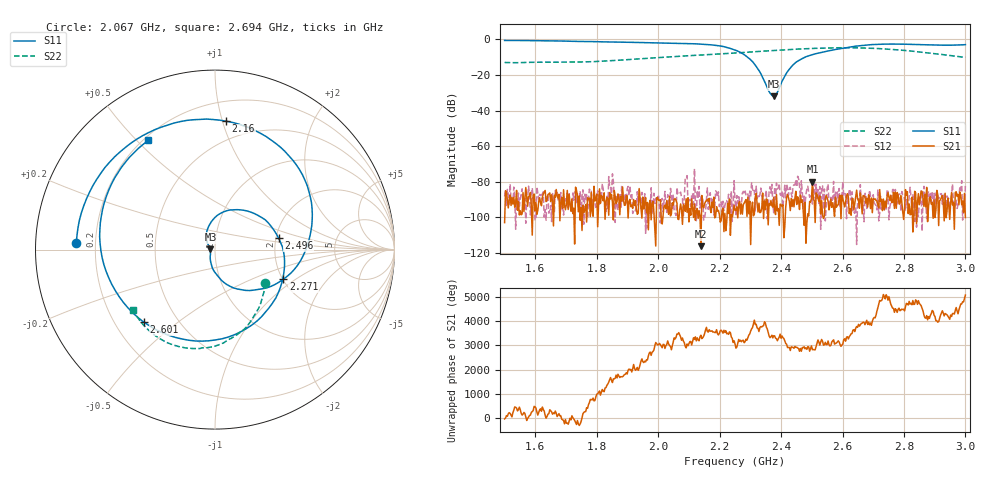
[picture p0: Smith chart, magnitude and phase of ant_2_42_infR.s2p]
! 1/1/2000 12:27:57 AM
! C:\DOCUMENTS AND SETTINGS\VECTORSTARUSER\DESKTOP\231101\ANT_2_42_INFR.S2P
! CHANNEL.1
! TR.MEASUREMENT
! CORRECTED.DATA
# HZ S DB R 50.0
! FREQ.HZ  S11DB  S11A  S21DB  S21A  S12DB  S12A  S22DB  S22A
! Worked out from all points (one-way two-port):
!   501 points, 1.5 GHz to 3 GHz, reference 50 ohm
!   highest |S21| = -79.97 dB at 2.502 GHz (marker M1); lowest = -116.2 dB at 2.139 GHz (marker M2)
!   lowest |S11| = -32.0 dB at 2.376 GHz (marker M3), VSWR 1.05, Z = 47.5 + j0.232 ohm
!   |S11| at or under -10 dB: 2.291 GHz to 2.478 GHz (186.9 MHz wide, 7.84 % of centre)
!   |S22| runs from -13.1 to -4.7 dB; largest |S21 - S12| = 0.00022
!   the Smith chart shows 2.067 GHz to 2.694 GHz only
!   S11 on the Smith chart (normalised r, x): 2.067 GHz: 0.13, +0.02; 2.16 GHz: 0.35, +1.03; 2.271 GHz: 2.02, -0.80; 2.496 GHz: 2.06, +0.31; 2.601 GHz: 0.32, -0.38; 2.694 GHz: 0.22, +0.54
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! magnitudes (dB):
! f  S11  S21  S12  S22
! 1.5 GHz  -0.6  -102.9  -88.2  -13.0
! 1.752 GHz  -1.2  -107.4  -87.8  -12.7
! 1.83 GHz  -1.4  -91.2  -96.7  -12.1
! 1.845 GHz  -1.4  -89.7  -82.6  -12.0
! 1.863 GHz  -1.5  -92.3  -87.4  -11.8
! 2.001 GHz  -1.9  -90.4  -87.2  -10.2
! 2.067 GHz  -2.2  -101.2  -87.2  -9.5
! 2.118 GHz  -2.5  -92.4  -72.7  -9.0
! 2.139 GHz  -2.6  -116.2  -88.7  -8.8
! 2.16 GHz  -2.9  -89.9  -83.4  -8.6
! 2.25 GHz  -6.0  -96.0  -90.2  -7.7
! 2.271 GHz  -7.6  -92.4  -92.2  -7.4
! 2.313 GHz  -13.7  -98.1  -84.9  -6.9
! 2.364 GHz  -30.2  -93.3  -82.8  -6.4
! 2.376 GHz  -32.0  -88.8  -97.4  -6.3
! 2.436 GHz  -14.9  -93.9  -88.6  -5.6
! 2.496 GHz  -8.9  -91.4  -87.9  -5.2
! 2.502 GHz  -8.5  -80.0  -92.5  -5.1
! 2.601 GHz  -4.9  -89.5  -80.0  -4.7
! 2.694 GHz  -2.9  -89.1  -91.3  -5.0
! 2.751 GHz  -2.6  -88.5  -101.4  -5.5
! 3 GHz  -3.0  -100.1  -82.3  -10.1
